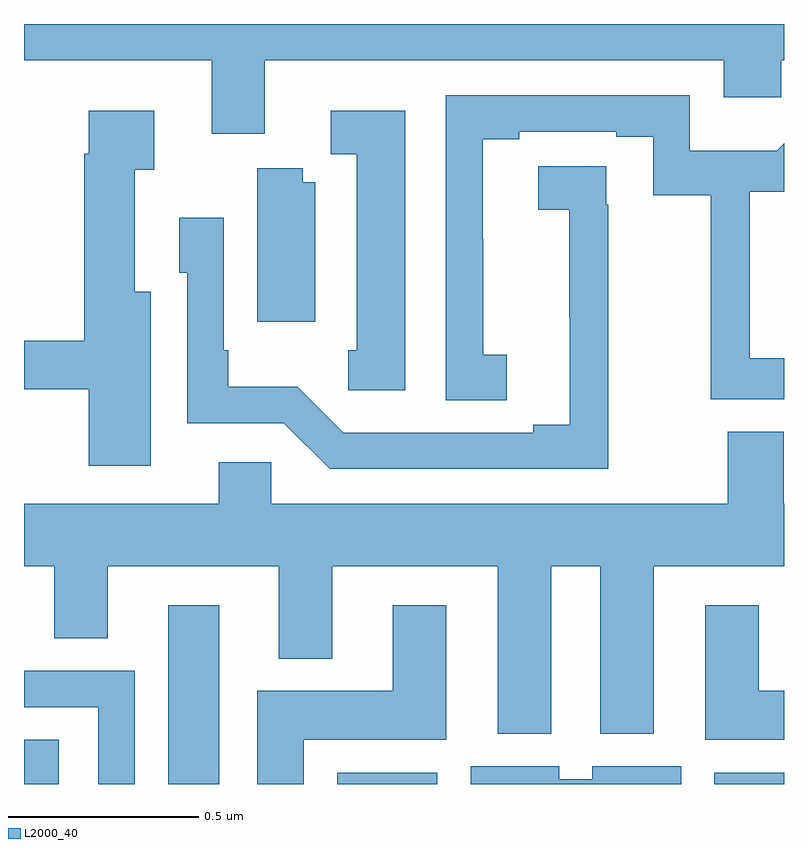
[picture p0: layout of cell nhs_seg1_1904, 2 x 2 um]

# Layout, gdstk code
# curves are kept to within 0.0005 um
import gdstk
lib = gdstk.Library(unit=1e-6, precision=1e-09)
def R(c, l, rs):  # rectangles x0, y0, x1, y1
    for r in rs: c.add(gdstk.rectangle(r[:2], r[2:], *l))
def P(c, l, *ps):  # polygons
    for p in ps: c.add(gdstk.Polygon(p, *l))
L2000_40 = (2000, 40)

nhs_seg1_1904 = lib.new_cell('nhs_seg1_1904')
R(nhs_seg1_1904, L2000_40, [(135,511.199,135.091,511.316), (135.38,511.199,135.514,511.669), (135.824,511.199,136.087,511.228), (136.817,511.199,137,511.228)])
P(nhs_seg1_1904, L2000_40, [(135.634,513.104),(136.841,513.104),(136.841,513.006),(136.993,513.006),(136.993,513.104),(137,513.104),(137,513.199),(135,513.199),(135,513.104),(135.494,513.104),(135.494,512.91),(135.634,512.91)],
  [(136.27,512.329),(136.209,512.329),(136.209,512.633),(136.207,512.633),(136.207,512.896),(136.303,512.896),(136.303,512.916),(136.559,512.916),(136.559,512.902),(136.656,512.902),(136.656,512.749),(136.807,512.749),(136.807,512.211),(137,512.211),(137,512.32),(136.91,512.32),(136.91,512.757),(137,512.757),(137,512.885),(136.981,512.866),(136.752,512.866),(136.752,513.012),(136.11,513.012),(136.11,512.209),(136.27,512.209)],
  [(135.334,512.494),(135.292,512.494),(135.292,512.815),(135.343,512.815),(135.343,512.971),(135.17,512.971),(135.17,512.858),(135.158,512.858),(135.158,512.366),(135,512.366),(135,512.238),(135.17,512.238),(135.17,512.037),(135.334,512.037)],
  [(136.003,512.971),(135.807,512.971),(135.807,512.856),(135.875,512.856),(135.875,512.34),(135.853,512.34),(135.853,512.235),(136.003,512.235)],
  [(136.538,512.723),(136.532,512.723),(136.532,512.825),(136.353,512.825),(136.353,512.71),(136.435,512.71),(136.436,512.144),(136.34,512.144),(136.34,512.124),(135.84,512.124),(135.719,512.245),(135.538,512.245),(135.538,512.341),(135.525,512.341),(135.525,512.689),(135.408,512.689),(135.408,512.544),(135.429,512.544),(135.429,512.148),(135.684,512.148),(135.804,512.028),(136.538,512.028)],
  [(135.766,512.782),(135.734,512.782),(135.734,512.819),(135.614,512.819),(135.614,512.415),(135.766,512.415)],
  [(136.387,511.772),(136.517,511.772),(136.517,511.331),(136.657,511.331),(136.657,511.772),(137,511.772),(137,511.936),(136.999,511.936),(136.999,512.126),(136.852,512.126),(136.852,511.936),(135.651,511.936),(135.651,512.046),(135.512,512.046),(135.512,511.936),(135,511.936),(135,511.772),(135.08,511.772),(135.08,511.582),(135.22,511.582),(135.22,511.772),(135.671,511.772),(135.671,511.529),(135.811,511.529),(135.811,511.772),(136.247,511.772),(136.247,511.331),(136.387,511.331)],
  [(137,511.444),(136.933,511.444),(136.933,511.669),(136.793,511.669),(136.793,511.316),(137,511.316)],
  [(135.736,511.316),(136.111,511.316),(136.111,511.669),(135.971,511.669),(135.971,511.444),(135.614,511.444),(135.614,511.199),(135.736,511.199)],
  [(135.291,511.497),(135,511.497),(135,511.401),(135.195,511.401),(135.195,511.199),(135.291,511.199)],
  [(136.729,511.246),(136.496,511.246),(136.496,511.211),(136.408,511.211),(136.408,511.246),(136.175,511.246),(136.175,511.199),(136.729,511.199)])

lib.write_gds('nhs_seg1_1904.gds')
